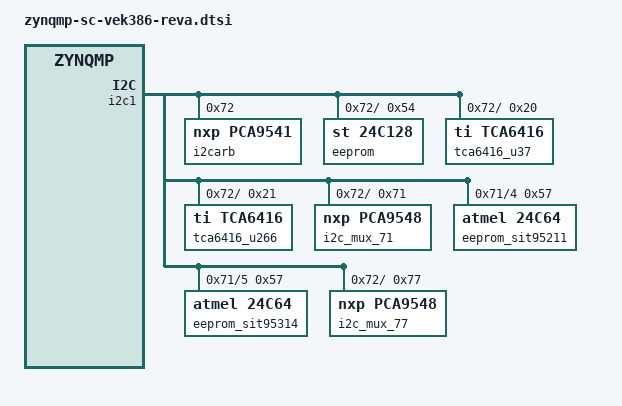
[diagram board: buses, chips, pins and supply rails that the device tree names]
// SPDX-License-Identifier: GPL-2.0
/*
 * dts file for SC on VEK386 revA (k24)
 *
 * (C) Copyright 2026, Advanced Micro Devices, Inc.
 *
 * Michal Simek <michal.simek@amd.com>
 */

&{/} {
	compatible = "xlnx,zynqmp-sc-vek386-revA",
		     "xlnx,zynqmp-sc-vek386", "xlnx,zynqmp";
	model = "ZynqMP SC VEK386 revA";
};

&i2c0 { /* FMC/J13  - MIO66/67 - board_i2c0 */
	#address-cells = <1>;
	#size-cells = <0>;
};

&i2c1 { /* MIO24/25 - sysctrl_i2c1 */
	#address-cells = <1>;
	#size-cells = <0>;

	/* slg7xl46528: gpio@10/11 u169 - reset logic */

	i2carb: i2c-arbitrator@72 { /* u161 */
		compatible = "nxp,pca9541";
		reg = <0x72>;

		i2carb1: i2c-arb { /* board_i2c1 */
			#address-cells = <1>;
			#size-cells = <0>;

			/* Use for storing information about board */
			eeprom: eeprom@54 { /* u35 - m24128 16kB */
				compatible = "st,24c128", "atmel,24c128";
				reg = <0x54>; /* & 0x5c */
			};

			tca6416_u37: gpio@20 { /* u37 */
				compatible = "ti,tca6416";
				reg = <0x20>;
				gpio-controller; /* interrupt on MIO69 */
				#gpio-cells = <2>;
				gpio-line-names = "VMON1_SLP", "VMON2_SLP", "VMON3_SLP", "VMONS_ACT_SHDN", /* 0 - 3 */
						"PCIE_RP_i2C_ALERT_B", "PCIE_RP_CLKREQ_B", "PCIE_RP_PEWAKE_B", "PCIE_RP_PERST_CON_B", /* 4 - 7 */
						"FMCP1_FMC_PRSNT_M2C_B", "FMCP1_FMCP_PRSNT_M2C_B", "PMBUS4_INA_ALERT", "PMBUS3_INA_ALERT", /* 10 - 13 */
						"PMBUS2_INA_ALERT", "PMBUS1_INA_ALERT", "PMBUS1_NIRQ", "PMBUS1_ALERT"; /* 14 - 17 */
			};

			tca6416_u266: gpio@21 { /* u266 */
				compatible = "ti,tca6416";
				reg = <0x21>;
				gpio-controller; /* interrupt on MIO69 */
				#gpio-cells = <2>;
				gpio-line-names = "QSFP1_MODSELL", "QSFP1_RESETL", "QSFP1_MODPRSL", "QSFP1_INTL", /* 0 - 3 */
						"QSFP1_LPMODE", "", "", "", /* 4 - 7 */
						"SFP_TX_FAULT", "SFP_RX_LOS", "SFP_MOD_ABS", "SFP_TX_DISABLE", /* 10 - 13 */
						"SFP_RS0_R", "SFP_RS1_R", "", ""; /* 14 - 17 */
			};

			i2c_mux_71: i2c-mux@71 { /* u162 */
				compatible = "nxp,pca9548";
				#address-cells = <1>;
				#size-cells = <0>;
				reg = <0x71>;
				i2c-mux-idle-disconnect;
				pmbus1: i2c@0 {
					#address-cells = <1>;
					#size-cells = <0>;
					reg = <0>;
					/* pmbus1 */
					 /* J1 connector */
					 /* u247 mpq79500 0x5 */
					 /* u248 mpq79500 0x6 */
					 /* u249 mpq79500 0x7 */
					 /* u256 mpq79730 0x8 */
					 /* u254 mpq79730 0x9 */
					 /* u255 mpq79730 0xa */
					 /* u243 mpq79720 0xb */
					 /* u245 mpq79720 0xc */
					 /* u201 mpq2283 0x15 */
					 /* u193 mpq2283 0x1a */
					 /* u207 mpq2283 0x1c */
					 /* u176 mpq2285 0x1d */
					 /* u228 mpq72963 0x22 */
					 /* u219 mpq72963 0x23 */
					 /* u220 mpq72963 0x24 */
				};
				pmbus2: i2c@1 {
					#address-cells = <1>;
					#size-cells = <0>;
					reg = <1>;
					/* pmbus2 */
					/* J166 connector */
					/* u205 mpq2285 0x1 */
					/* u175 mpq2285 0x2 */
					/* u189 mpq2283 0x3 */
					/* u190 mpq2283 0x4 */
					/* u195 mpq2283 0x1e */
					/* u196 mpq2283 0x1f */
					/* u93 mpq2283 0x13 */
					/* u203 mpq2283 0x17 */
					/* u204 mpq2283 0x18 */
					/* u191 mpq2283 0x19 */
					/* u206 mpq2283 0x1b */
				};
				pmbus1_ina: i2c@2 {
					#address-cells = <1>;
					#size-cells = <0>;
					reg = <2>;
					/* u282 ina745a 0x40 vcc_fpd_bus */
					/* u233 ina745a 0x41 vcc_soc_io_bus */
					/* u283 ina700a 0x44 vcc_lpd */
					/* u284 ina700a 0x45 vccaux_lpd */
					/* u285 ina700a 0x46 vcco_50x */
					/* u286 ina700a 0x47 vcco_mipi_507 */
					/* u64 ina745a 0x48 vccint_bus1 */
					/* u275 ina745a 0x49 vccint_bus2 */
					/* u276 ina745a 0x4a vccint_bus3 */
					/* u277 ina745a 0x4b vccint_bus4 */
				};
				pmbus2_ina: i2c@3 {
					#address-cells = <1>;
					#size-cells = <0>;
					reg = <3>;
					/* u287 ina700a 0x44 vcciio_mipi_507 */
					/* u297 ina700a 0x45 util_5v0_in_bank504 */
					/* u288 ina700a 0x46 vccaux */
					/* u289 ina700a 0x47 vadj_fmc */
					/* u278 ina745a 0x48 vcc_aie_bus1 */
					/* u279 ina745a 0x49 vcc_aie_bus2 */
					/* u280 ina745a 0x4a vcc_aie_bus3 */
					/* u281 ina745a 0x4b vcc_aie_bus4 */
				};
				clkgen_sit95211: i2c@4 {
					#address-cells = <1>;
					#size-cells = <0>;
					reg = <4>;
					/* u101 sit95211 0x69 - 12 outputs */
					eeprom_u166: eeprom@57 { /* u166 - required by spec - also at address 0x5F */
						compatible = "atmel,24c64";
						label = "eeprom_sit95211";
						reg = <0x57>;
					};
				};
				clkgen_sit95314: i2c@5 {
					#address-cells = <1>;
					#size-cells = <0>;
					reg = <5>;
					/* u164 sit95314 0x69 - 4 outputs */
					eeprom_u165: eeprom@57 { /* u165 - required by spec - also at address 0x5F */
						compatible = "atmel,24c64";
						label = "eeprom_sit95314";
						reg = <0x57>;
					};
				};
				pmbus3_ina: i2c@6 {
					#address-cells = <1>;
					#size-cells = <0>;
					reg = <6>;
					/* u290 ina700a 0x44 vcco_40x */
					/* u291 ina700a 0x45 gtyp_avccaux */
					/* u292 ina700a 0x46 gtyp_avtt */
					/* u294 ina700a 0x47 vcco_7xx_lp5 */
				};
				pmbus4_ina: i2c@7 {
					#address-cells = <1>;
					#size-cells = <0>;
					reg = <7>;
					/* u293 ina700a 0x44 vcc_mmd */
					/* u295 ina700a 0x45 vcc_ram */
					/* u296 ina700a 0x46 gtyp_avcc */
				};
			};

			i2c_mux_77: i2c-mux@77 { /* u253 */
				compatible = "nxp,pca9548";
				#address-cells = <1>;
				#size-cells = <0>;
				reg = <0x77>;
				i2c-mux-idle-disconnect;
				sfp: i2c@1 {
					#address-cells = <1>;
					#size-cells = <0>;
					reg = <1>;
				};
				usbdp: i2c@2 {
					#address-cells = <1>;
					#size-cells = <0>;
					reg = <2>;
					/* u272 tps66993 */
				};
				pcie_rp: i2c@3 {
					#address-cells = <1>;
					#size-cells = <0>;
					reg = <3>;
				};
				usb0_hub: i2c@4 {
					#address-cells = <1>;
					#size-cells = <0>;
					reg = <4>;
					hub: usb-hub@74 { /* u111 - DNP */
						compatible = "microchip,usb5744";
						status = "disabled";
						reg = <0x74>;
					};

				};
				/* 0, 5 - 7 not connected */
			};
		};
	};
};
